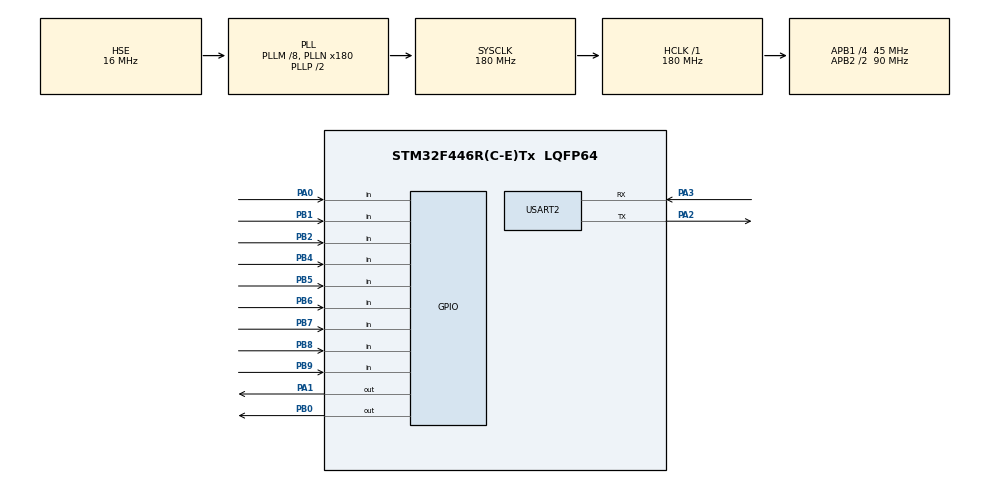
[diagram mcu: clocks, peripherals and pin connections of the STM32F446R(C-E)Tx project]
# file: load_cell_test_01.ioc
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Mcu.Family=STM32F4
Mcu.Name=STM32F446R(C-E)Tx
Mcu.Package=LQFP64
NVIC.PriorityGroup=NVIC_PRIORITYGROUP_4
NVIC.RCC_IRQn=true\:0\:0\:false\:false\:true\:true\:false
NVIC.TIM6_DAC_IRQn=true\:0\:0\:false\:false\:true\:true\:true
NVIC.USART2_IRQn=true\:0\:0\:false\:false\:true\:true\:true
PA0-WKUP.Signal=GPIO_Input
PA1.Signal=GPIO_Output
PA13.Signal=SYS_JTMS-SWDIO
PA14.Signal=SYS_JTCK-SWCLK
PA2.Mode=Asynchronous
PA2.Signal=USART2_TX
PA3.Mode=Asynchronous
PA3.Signal=USART2_RX
PB0.Signal=GPIO_Output
PB1.Signal=GPIO_Input
PB2.Signal=GPIO_Input
PB4.Signal=GPIO_Input
PB5.Signal=GPIO_Input
PB6.Signal=GPIO_Input
PB7.Signal=GPIO_Input
PB8.Signal=GPIO_Input
PB9.Signal=GPIO_Input
PH0-OSC_IN.Mode=HSE-External-Oscillator
PH0-OSC_IN.Signal=RCC_OSC_IN
PH1-OSC_OUT.Mode=HSE-External-Oscillator
PH1-OSC_OUT.Signal=RCC_OSC_OUT
ProjectManager.HeapSize=0x200
ProjectManager.StackSize=0x400
ProjectManager.TargetToolchain=EWARM V8
RCC.AHBFreq_Value=180000000
RCC.APB1CLKDivider=RCC_HCLK_DIV4
RCC.APB1Freq_Value=45000000
RCC.APB1TimFreq_Value=90000000
RCC.APB2CLKDivider=RCC_HCLK_DIV2
RCC.APB2Freq_Value=90000000
RCC.APB2TimFreq_Value=180000000
RCC.CortexFreq_Value=180000000
RCC.HCLKFreq_Value=180000000
RCC.HSE_VALUE=16000000
RCC.PLLM=8
RCC.PLLN=180
RCC.PLLSourceVirtual=RCC_PLLSOURCE_HSE
RCC.PREFETCH_ENABLE=1
RCC.SYSCLKFreq_VALUE=180000000
RCC.SYSCLKSource=RCC_SYSCLKSOURCE_PLLCLK
RCC.USBFreq_Value=180000000
RCC.VCOOutputFreq_Value=360000000
TIM6.Period=1000-1
TIM6.Prescaler=90-1
USART2.VirtualMode=VM_ASYNC
VP_TIM6_VS_ClockSourceINT.Mode=Enable_Timer
board=custom

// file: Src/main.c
/* USER CODE BEGIN Header */
/**
  ******************************************************************************
  * @file           : main.c
  * @brief          : Main program body
  ******************************************************************************
  * @attention
  *
  * <h2><center>&copy; Copyright (c) 2019 STMicroelectronics.
  * All rights reserved.</center></h2>
  *
  * This software component is licensed by ST under BSD 3-Clause license,
  * the "License"; You may not use this file except in compliance with the
  * License. You may obtain a copy of the License at:
  *                        opensource.org/licenses/BSD-3-Clause
  *
  ******************************************************************************
  */
/* USER CODE END Header */

#include "main.h"

/* USER CODE BEGIN Includes */
#include "hx711.h"

/* USER CODE END Includes */

TIM_HandleTypeDef htim6;
UART_HandleTypeDef huart2;

/* USER CODE BEGIN PV */
int test =0;

int Load_cell_number = 8;
int Load_cell_Txbuffer_number = 35;
uint8_t Load_cell_ID[8] = {0,1,2,3,4,5,6,7};

int value[8]  = {0,};
int value_[8] = {0,};
int Value_Gain[8] = {4,32,32,32,32,32,32,32};

HX711 data_0;
HX711 data_1;
HX711 data_2;
HX711 data_3;
HX711 data_4;
HX711 data_5;
HX711 data_6;
HX711 data_7;

#define HX711_NUM 8
HX711 HX711_data[HX711_NUM];

uint8_t Tx_buffer[35] = {0,};
int counter = 2;

int8_t Checksum  = 0;
int8_t Checksum_ = 0;

uint8_t Rxbuffer[11] = {0,};
uint8_t Value_Gain_buffer[8] = {0,};
uint8_t Rx_Checksum_ = 0;
uint8_t Rx_Checksum  = 0 ;
int Rx_counter = 0;

/* USER CODE END PV */

void SystemClock_Config(void);
static void MX_GPIO_Init(void);
static void MX_TIM6_Init(void);
static void MX_USART2_UART_Init(void);

int main(void)
{

  /* MCU Configuration--------------------------------------------------------*/

  /* Reset of all peripherals, Initializes the Flash interface and the Systick. */
  HAL_Init();

  /* Configure the system clock */
  SystemClock_Config();

  /* Initialize all configured peripherals */
  MX_GPIO_Init();
  MX_TIM6_Init();
  MX_USART2_UART_Init();

  HAL_UART_Receive_IT(&huart2, (uint8_t*)Rxbuffer,11);

  /* USER CODE BEGIN 2 */

  HX711_data[0].gpioData = GPIOB;
  HX711_data[0].pinData  = GPIO_PIN_1;
  HX711_data[0].gpioSck  = GPIOB;
  HX711_data[0].pinSck   = GPIO_PIN_0;
  HX711_data[0].gain     = Value_Gain[0];

  HX711_data[1].gpioData = GPIOB;
  HX711_data[1].pinData  = GPIO_PIN_2;
  HX711_data[1].gpioSck  = GPIOB;
  HX711_data[1].pinSck   = GPIO_PIN_0;
  HX711_data[1].gain     = Value_Gain[1];

  HX711_data[2].gpioData = GPIOB;
  HX711_data[2].pinData  = GPIO_PIN_4;
  HX711_data[2].gpioSck  = GPIOB;
  HX711_data[2].pinSck   = GPIO_PIN_0;
  HX711_data[2].gain     = Value_Gain[2];

  HX711_data[3].gpioData = GPIOB;
  HX711_data[3].pinData  = GPIO_PIN_5;
  HX711_data[3].gpioSck  = GPIOB;
  HX711_data[3].pinSck   = GPIO_PIN_0;
  HX711_data[3].gain     = Value_Gain[3];

  HX711_data[4].gpioData = GPIOB;
  HX711_data[4].pinData  = GPIO_PIN_6;
  HX711_data[4].gpioSck  = GPIOB;
  HX711_data[4].pinSck   = GPIO_PIN_0;
  HX711_data[4].gain     = Value_Gain[4];

  HX711_data[5].gpioData = GPIOB;
  HX711_data[5].pinData  = GPIO_PIN_7;
  HX711_data[5].gpioSck  = GPIOB;
  HX711_data[5].pinSck   = GPIO_PIN_0;
  HX711_data[5].gain     = Value_Gain[5];

  HX711_data[6].gpioData = GPIOB;
  HX711_data[6].pinData  = GPIO_PIN_8;
  HX711_data[6].gpioSck  = GPIOB;
  HX711_data[6].pinSck   = GPIO_PIN_0;
  HX711_data[6].gain     = Value_Gain[6];

  HX711_data[7].gpioData = GPIOB;
  HX711_data[7].pinData  = GPIO_PIN_9;
  HX711_data[7].gpioSck  = GPIOB;
  HX711_data[7].pinSck   = GPIO_PIN_0;
  HX711_data[7].gain     = Value_Gain[7];

  /* USER CODE END 2 */

  /* Infinite loop */
  while (1)
  {

    /* USER CODE BEGIN 3 */

    //==================Value_Gain_Rx================//
    if(Rxbuffer[0] == 0xFF && Rxbuffer[1] == 0xFF)
    {
      for(int i = 2; i < 10; i++)
      {
        Rx_Checksum_ += Rxbuffer[i];
      }
      Rx_Checksum = ~Rx_Checksum_;

      if(Rx_Checksum == Rxbuffer[10])
      {
        for(int i = 2; i < 10; i++)
        {
          Value_Gain_buffer[i-2] = Rxbuffer[i];
        }
      }
    }

    if(Value_Gain_buffer[0] != 0)
    {
      for(int i = 0; i < 8; i++)
      {
        Value_Gain[i] = Value_Gain_buffer[i];
      }
    }
    //==========================================//

    HAL_Delay(1);

    HX711_Init(HX711_data[0]);
    value_[0] = HX711_Value(HX711_data[0]);

    HX711_Init(HX711_data[1]);
    value_[1] = HX711_Value(HX711_data[1]);

    HX711_Init(HX711_data[2]);
    value_[2] = HX711_Value(HX711_data[2]);

    HX711_Init(HX711_data[3]);
    value_[3] = HX711_Value(HX711_data[3]);

    HX711_Init(HX711_data[4]);
    value_[4] = HX711_Value(HX711_data[4]);

    HX711_Init(HX711_data[5]);
    value_[5] = HX711_Value(HX711_data[5]);

    HX711_Init(HX711_data[6]);
    value_[6] = HX711_Value(HX711_data[6]);

    HX711_Init(HX711_data[7]);
    value_[7] = HX711_Value(HX711_data[7]);

    for(int i = 0; i < Load_cell_number; i++)
    {
      value[i] = value_[i];

      if(value[i] > 16000000)
        value[i] = value[i] / 2;
    }

    //=======================LOAD_CELL_DATA_TX========================//
    Tx_buffer[0] = 0xFF;
    Tx_buffer[1] = 0xFF;

    for(int i = 0; i < Load_cell_number; i++)
    {
      Tx_buffer[counter] = Load_cell_ID[i];
      Tx_buffer[counter+1] = value[i] & 0xFF;
      Tx_buffer[counter+2] = (value[i] >> 8) & 0xFF;
      Tx_buffer[counter+3] = (value[i] >> 16) & 0xFF;
      counter += 4;
    }
    counter = 2;

    for(int i = 2; i < Load_cell_Txbuffer_number - 1 ; i++)
    {
      Checksum_ += Tx_buffer[i];
    }

    Checksum = ~Checksum_;
    Tx_buffer[34] = Checksum;

    Checksum  = 0;
    Checksum_ = 0;

    HAL_UART_Transmit(&huart2, Tx_buffer,35,100);
    //===============================================================//
  }
  /* USER CODE END 3 */
}

void HAL_UART_RxCpltCallback(UART_HandleTypeDef *UartHandle)
{
  Rx_counter++;

  HAL_UART_Receive_IT(&huart2, (uint8_t*)Rxbuffer,11);
}

void SystemClock_Config(void)
{
  RCC_OscInitTypeDef RCC_OscInitStruct = {0};
  RCC_ClkInitTypeDef RCC_ClkInitStruct = {0};

  /** Configure the main internal regulator output voltage
  */
  __HAL_RCC_PWR_CLK_ENABLE();
  __HAL_PWR_VOLTAGESCALING_CONFIG(PWR_REGULATOR_VOLTAGE_SCALE1);
  /** Initializes the CPU, AHB and APB busses clocks
  */
  RCC_OscInitStruct.OscillatorType = RCC_OSCILLATORTYPE_HSE;
  RCC_OscInitStruct.HSEState = RCC_HSE_ON;
  RCC_OscInitStruct.PLL.PLLState = RCC_PLL_ON;
  RCC_OscInitStruct.PLL.PLLSource = RCC_PLLSOURCE_HSE;
  RCC_OscInitStruct.PLL.PLLM = 8;
  RCC_OscInitStruct.PLL.PLLN = 180;
  RCC_OscInitStruct.PLL.PLLP = RCC_PLLP_DIV2;
  RCC_OscInitStruct.PLL.PLLQ = 2;
  RCC_OscInitStruct.PLL.PLLR = 2;
  if (HAL_RCC_OscConfig(&RCC_OscInitStruct) != HAL_OK)
  {
    Error_Handler();
  }
  /** Activate the Over-Drive mode
  */
  if (HAL_PWREx_EnableOverDrive() != HAL_OK)
  {
    Error_Handler();
  }
  /** Initializes the CPU, AHB and APB busses clocks
  */
  RCC_ClkInitStruct.ClockType = RCC_CLOCKTYPE_HCLK|RCC_CLOCKTYPE_SYSCLK
                              |RCC_CLOCKTYPE_PCLK1|RCC_CLOCKTYPE_PCLK2;
  RCC_ClkInitStruct.SYSCLKSource = RCC_SYSCLKSOURCE_PLLCLK;
  RCC_ClkInitStruct.AHBCLKDivider = RCC_SYSCLK_DIV1;
  RCC_ClkInitStruct.APB1CLKDivider = RCC_HCLK_DIV4;
  RCC_ClkInitStruct.APB2CLKDivider = RCC_HCLK_DIV2;

  if (HAL_RCC_ClockConfig(&RCC_ClkInitStruct, FLASH_LATENCY_5) != HAL_OK)
  {
    Error_Handler();
  }
}

static void MX_TIM6_Init(void)
{

  TIM_MasterConfigTypeDef sMasterConfig = {0};

  htim6.Instance = TIM6;
  htim6.Init.Prescaler = 90-1;
  htim6.Init.CounterMode = TIM_COUNTERMODE_UP;
  htim6.Init.Period = 1000-1;
  htim6.Init.AutoReloadPreload = TIM_AUTORELOAD_PRELOAD_DISABLE;
  if (HAL_TIM_Base_Init(&htim6) != HAL_OK)
  {
    Error_Handler();
  }
  sMasterConfig.MasterOutputTrigger = TIM_TRGO_RESET;
  sMasterConfig.MasterSlaveMode = TIM_MASTERSLAVEMODE_DISABLE;
  if (HAL_TIMEx_MasterConfigSynchronization(&htim6, &sMasterConfig) != HAL_OK)
  {
    Error_Handler();
  }

}

static void MX_USART2_UART_Init(void)
{

  huart2.Instance = USART2;
  huart2.Init.BaudRate = 115200;
  huart2.Init.WordLength = UART_WORDLENGTH_8B;
  huart2.Init.StopBits = UART_STOPBITS_1;
  huart2.Init.Parity = UART_PARITY_NONE;
  huart2.Init.Mode = UART_MODE_TX_RX;
  huart2.Init.HwFlowCtl = UART_HWCONTROL_NONE;
  huart2.Init.OverSampling = UART_OVERSAMPLING_16;
  if (HAL_UART_Init(&huart2) != HAL_OK)
  {
    Error_Handler();
  }

}

static void MX_GPIO_Init(void)
{
  GPIO_InitTypeDef GPIO_InitStruct = {0};

  /* GPIO Ports Clock Enable */
  __HAL_RCC_GPIOH_CLK_ENABLE();
  __HAL_RCC_GPIOA_CLK_ENABLE();
  __HAL_RCC_GPIOB_CLK_ENABLE();

  /*Configure GPIO pin Output Level */
  HAL_GPIO_WritePin(GPIOA, GPIO_PIN_1, GPIO_PIN_RESET);

  /*Configure GPIO pin Output Level */
  HAL_GPIO_WritePin(GPIOB, GPIO_PIN_0, GPIO_PIN_RESET);

  /*Configure GPIO pin : PA0 */
  GPIO_InitStruct.Pin = GPIO_PIN_0;
  GPIO_InitStruct.Mode = GPIO_MODE_INPUT;
  GPIO_InitStruct.Pull = GPIO_NOPULL;
  HAL_GPIO_Init(GPIOA, &GPIO_InitStruct);

  /*Configure GPIO pin : PA1 */
  GPIO_InitStruct.Pin = GPIO_PIN_1;
  GPIO_InitStruct.Mode = GPIO_MODE_OUTPUT_PP;
  GPIO_InitStruct.Pull = GPIO_NOPULL;
  GPIO_InitStruct.Speed = GPIO_SPEED_FREQ_LOW;
  HAL_GPIO_Init(GPIOA, &GPIO_InitStruct);

  /*Configure GPIO pin : PB0 */
  GPIO_InitStruct.Pin = GPIO_PIN_0;
  GPIO_InitStruct.Mode = GPIO_MODE_OUTPUT_PP;
  GPIO_InitStruct.Pull = GPIO_NOPULL;
  GPIO_InitStruct.Speed = GPIO_SPEED_FREQ_LOW;
  HAL_GPIO_Init(GPIOB, &GPIO_InitStruct);

  /*Configure GPIO pins : PB1 PB2 PB4 PB5
                           PB6 PB7 PB8 PB9 */
  GPIO_InitStruct.Pin = GPIO_PIN_1|GPIO_PIN_2|GPIO_PIN_4|GPIO_PIN_5
                          |GPIO_PIN_6|GPIO_PIN_7|GPIO_PIN_8|GPIO_PIN_9;
  GPIO_InitStruct.Mode = GPIO_MODE_INPUT;
  GPIO_InitStruct.Pull = GPIO_NOPULL;
  HAL_GPIO_Init(GPIOB, &GPIO_InitStruct);

}

/* USER CODE BEGIN 4 */

int HX711_cnt=0;

void HAL_TIM_PeriodElapsedCallback(TIM_HandleTypeDef *htim)
{

}

/* USER CODE END 4 */

void Error_Handler(void)
{
}

/************************ (C) COPYRIGHT STMicroelectronics *****END OF FILE****/
